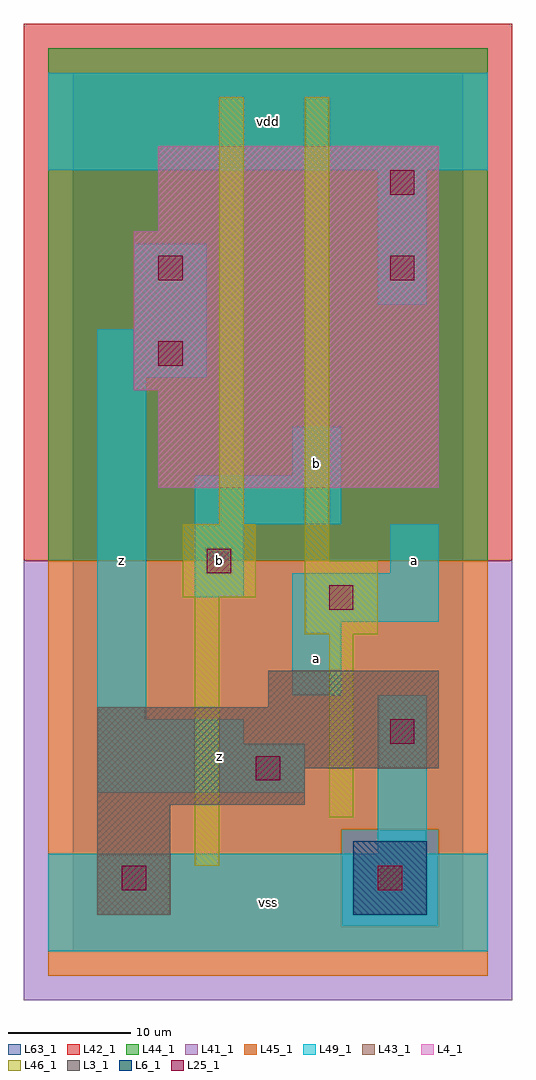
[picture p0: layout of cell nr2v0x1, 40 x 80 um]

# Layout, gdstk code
import gdstk
lib = gdstk.Library(unit=1e-6, precision=1e-09)
def R(c, l, rs):  # rectangles x0, y0, x1, y1
    for r in rs: c.add(gdstk.rectangle(r[:2], r[2:], *l))
L3_1 = (3, 1)
L4_1 = (4, 1)
L6_1 = (6, 1)
L25_1 = (25, 1)
L41_1 = (41, 1)
L42_1 = (42, 1)
L43_1 = (43, 1)
L44_1 = (44, 1)
L45_1 = (45, 1)
L46_1 = (46, 1)
L49_1 = (49, 1)
L63_1 = (63, 1)

nr2v0x1 = lib.new_cell('nr2v0x1')
R(nr2v0x1, L3_1, [(2,3,8,12), (2,12,19,15), (2,15,30,20), (16,20,30,23)])
R(nr2v0x1, L4_1, [(7,38,30,46), (5,46,30,59), (7,59,30,66)])
R(nr2v0x1, L6_1, [(23,3,29,9), (23,3,29,9)])
R(nr2v0x1, L25_1, [(4,5,6,7), (25,5,27,7), (15,14,17,16), (26,17,28,19), (21,28,23,30), (11,31,13,33), (7,48,9,50), (7,55,9,57), (26,55,28,57), (26,62,28,64)])
R(nr2v0x1, L41_1, [(-4,-4,36,32)])
R(nr2v0x1, L42_1, [(-4,32,36,76)])
R(nr2v0x1, L43_1, [(2,3,8,12), (23,3,29,9), (2,12,19,15), (2,15,30,20), (16,20,30,23), (7,38,30,46), (5,46,30,59), (7,59,30,66)])
R(nr2v0x1, L44_1, [(22,2,30,10), (-2,32,34,74)])
R(nr2v0x1, L45_1, [(-2,-2,34,2), (-2,2,22,10), (30,2,34,10), (-2,10,34,32)])
R(nr2v0x1, L46_1, [(10,7,12,29), (21,11,23,26), (19,26,25,32), (9,29,15,35), (19,32,21,70), (12,35,14,70)])
R(nr2v0x1, L49_1, [(-2,0,34,8), (25,8,29,21), (2,13,19,17), (2,17,14,19), (2,19,6,47), (18,21,22,27), (18,27,30,31), (10,29,14,35), (26,31,30,35), (10,35,22,39), (18,39,22,43), (2,47,11,51), (5,51,11,58), (25,53,29,64), (-2,64,34,72)])
R(nr2v0x1, L63_1, [(0,0,32,72)])
nr2v0x1.add(gdstk.Label('z', (4,32), layer=49, texttype=1))
nr2v0x1.add(gdstk.Label('z', (12,16), layer=49, texttype=1))
nr2v0x1.add(gdstk.Label('b', (12,32), layer=49, texttype=1))
nr2v0x1.add(gdstk.Label('vss', (16,4), layer=49, texttype=1))
nr2v0x1.add(gdstk.Label('a', (20,24), layer=49, texttype=1))
nr2v0x1.add(gdstk.Label('b', (20,40), layer=49, texttype=1))
nr2v0x1.add(gdstk.Label('vdd', (16,68), layer=49, texttype=1))
nr2v0x1.add(gdstk.Label('a', (28,32), layer=49, texttype=1))

lib.write_gds('nr2v0x1.gds')
